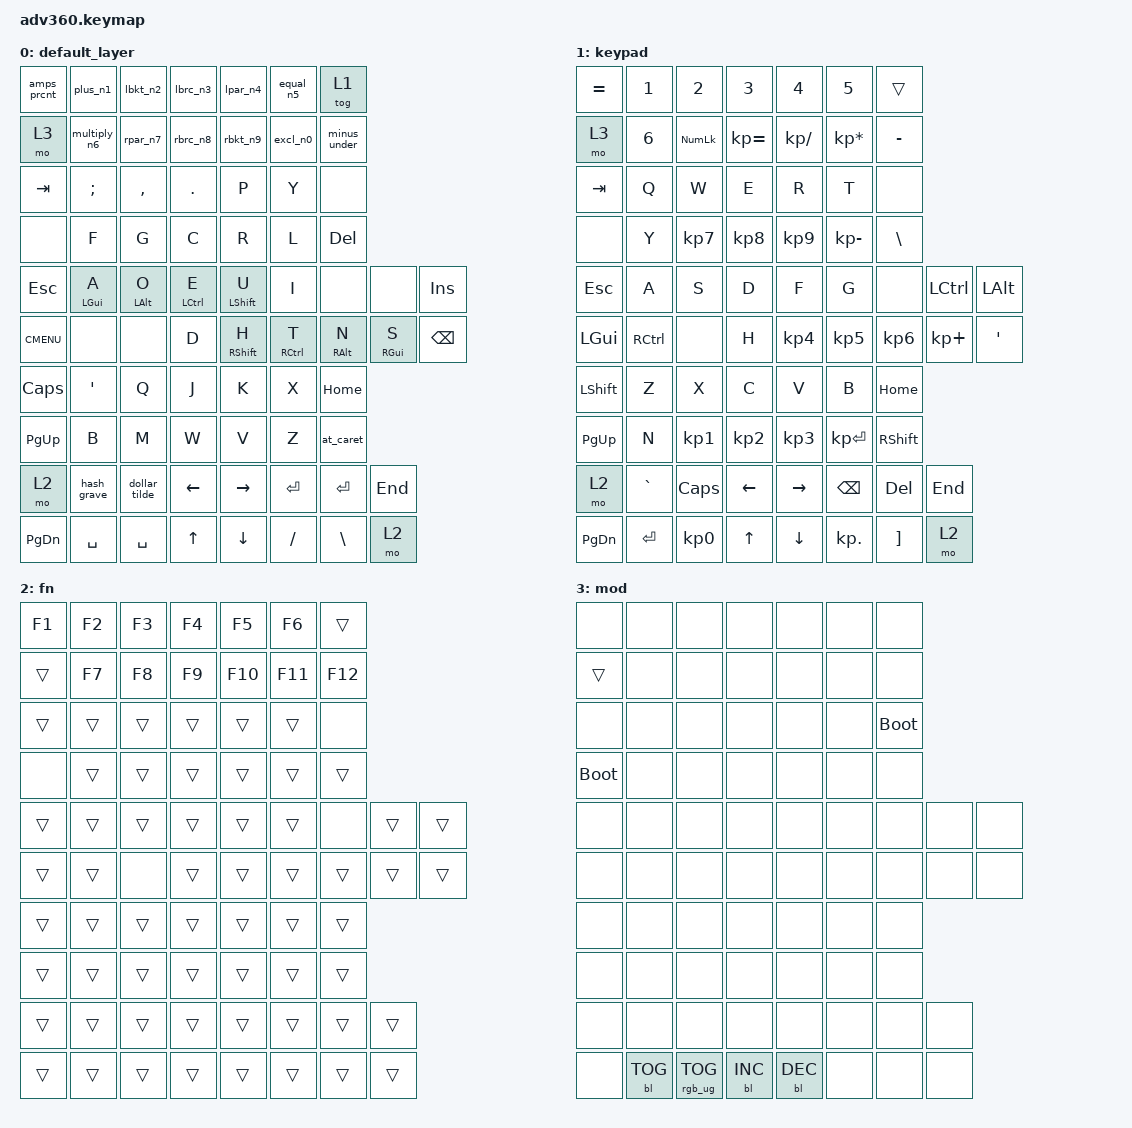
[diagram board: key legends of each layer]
#include <behaviors.dtsi>
#include <dt-bindings/zmk/keys.h>
#include <dt-bindings/zmk/rgb.h>
#include <dt-bindings/zmk/backlight.h>

#define BEHAVIOR_MODMORPH_TWO(name, a, b) \
	name: name { \
		compatible = "zmk,behavior-mod-morph"; \
		label = #name; \
		#binding-cells = <0>; \
		bindings = <a>, <b>; \
		mods = <(MOD_LSFT|MOD_RSFT)>; \
	}

&mt {
	flavor = "tap-preferred";
};

&lt {
	retro-tap;
};

/ {
	behaviors {
		BEHAVIOR_MODMORPH_TWO(amps_prcnt, &kp AMPS, &kp PRCNT);
		BEHAVIOR_MODMORPH_TWO(plus_n1, &kp PLUS, &kp N1);
		BEHAVIOR_MODMORPH_TWO(lbkt_n2, &kp LBKT, &kp N2);
		BEHAVIOR_MODMORPH_TWO(lbrc_n3, &kp LBRC, &kp N3);
		BEHAVIOR_MODMORPH_TWO(lpar_n4, &kp LPAR, &kp N4);
		BEHAVIOR_MODMORPH_TWO(equal_n5, &kp EQUAL, &kp N5);

		BEHAVIOR_MODMORPH_TWO(multiply_n6, &kp KP_MULTIPLY, &kp N6);
		BEHAVIOR_MODMORPH_TWO(rpar_n7, &kp RPAR, &kp N7);
		BEHAVIOR_MODMORPH_TWO(rbrc_n8, &kp RBRC, &kp N8);
		BEHAVIOR_MODMORPH_TWO(rbkt_n9, &kp RBKT, &kp N9);
		BEHAVIOR_MODMORPH_TWO(excl_n0, &kp EXCL, &kp N0);
		BEHAVIOR_MODMORPH_TWO(minus_under, &kp MINUS, &kp UNDER);

		BEHAVIOR_MODMORPH_TWO(at_caret, &kp AT, &kp CARET);
		BEHAVIOR_MODMORPH_TWO(hash_grave, &kp HASH, &kp GRAVE);
		BEHAVIOR_MODMORPH_TWO(dollar_tilde, &kp DOLLAR, &kp TILDE);
	};

	keymap {
		compatible = "zmk,keymap";

		default_layer {
			bindings = <
&amps_prcnt &plus_n1 &lbkt_n2 &lbrc_n3 &lpar_n4 &equal_n5 &tog 1
&mo 3 &multiply_n6 &rpar_n7 &rbrc_n8 &rbkt_n9 &excl_n0 &minus_under

&kp TAB &kp SEMI &kp COMMA &kp DOT &kp P &kp Y &none
&none &kp F &kp G &kp C &kp R &kp L &kp DEL

&kp ESC &mt LGUI A &mt LALT O &mt LCTRL E &mt LSHFT U &kp I &none &none &kp INSERT
&kp K_CMENU &none &none &kp D &mt RSHFT H &mt RCTRL T &mt RALT N &mt RGUI S &kp BSPC

&kp CAPS &kp SQT &kp Q &kp J &kp K &kp X &kp HOME
&kp PG_UP &kp B &kp M &kp W &kp V &kp Z &at_caret

&mo 2 &hash_grave &dollar_tilde &kp LEFT &kp RIGHT &kp ENTER &kp ENTER &kp END
&kp PG_DN &kp SPACE &kp SPACE &kp UP &kp DOWN &kp FSLH &kp BSLH &mo 2
			>;
		};

		keypad {
			bindings = <
&kp EQUAL &kp N1 &kp N2 &kp N3 &kp N4 &kp N5 &trans
&mo 3 &kp N6 &kp KP_NUM &kp KP_EQUAL &kp KP_DIVIDE &kp KP_MULTIPLY &kp MINUS

&kp TAB &kp Q &kp W &kp E &kp R &kp T &none
&none &kp Y &kp KP_N7 &kp KP_N8 &kp KP_N9 &kp KP_MINUS &kp BSLH

&kp ESC &kp A &kp S &kp D &kp F &kp G &none &kp LCTRL &kp LALT
&kp LGUI &kp RCTRL &none &kp H &kp KP_N4 &kp KP_N5 &kp KP_N6 &kp KP_PLUS &kp SQT

&kp LSHFT &kp Z &kp X &kp C &kp V &kp B &kp HOME
&kp PG_UP &kp N &kp KP_N1 &kp KP_N2 &kp KP_N3 &kp KP_ENTER &kp RSHFT

&mo 2 &kp GRAVE &kp CAPS &kp LEFT &kp RIGHT &kp BSPC &kp DEL &kp END
&kp PG_DN &kp ENTER &kp KP_N0 &kp UP &kp DOWN &kp KP_DOT &kp RBKT &mo 2
			>;
		};

		fn {
			bindings = <
&kp F1 &kp F2 &kp F3 &kp F4 &kp F5 &kp F6 &trans
&trans &kp F7 &kp F8 &kp F9 &kp F10 &kp F11 &kp F12

&trans &trans &trans &trans &trans &trans &none
&none &trans &trans &trans &trans &trans &trans

&trans &trans &trans &trans &trans &trans &none &trans &trans
&trans &trans &none &trans &trans &trans &trans &trans &trans

&trans &trans &trans &trans &trans &trans &trans
&trans &trans &trans &trans &trans &trans &trans

&trans &trans &trans &trans &trans &trans &trans &trans
&trans &trans &trans &trans &trans &trans &trans &trans
			>;
		};

		mod {
			bindings = <
&none &none &none &none &none &none &none
&trans &none &none &none &none &none &none

&none &none &none &none &none &none &bootloader
&bootloader &none &none &none &none &none &none

&none &none &none &none &none &none &none &none &none
&none &none &none &none &none &none &none &none &none

&none &none &none &none &none &none &none
&none &none &none &none &none &none &none

&none &none &none &none &none &none &none &none
&none &bl BL_TOG &rgb_ug RGB_TOG &bl BL_INC &bl BL_DEC &none &none &none
			>;
		};
	};
};
